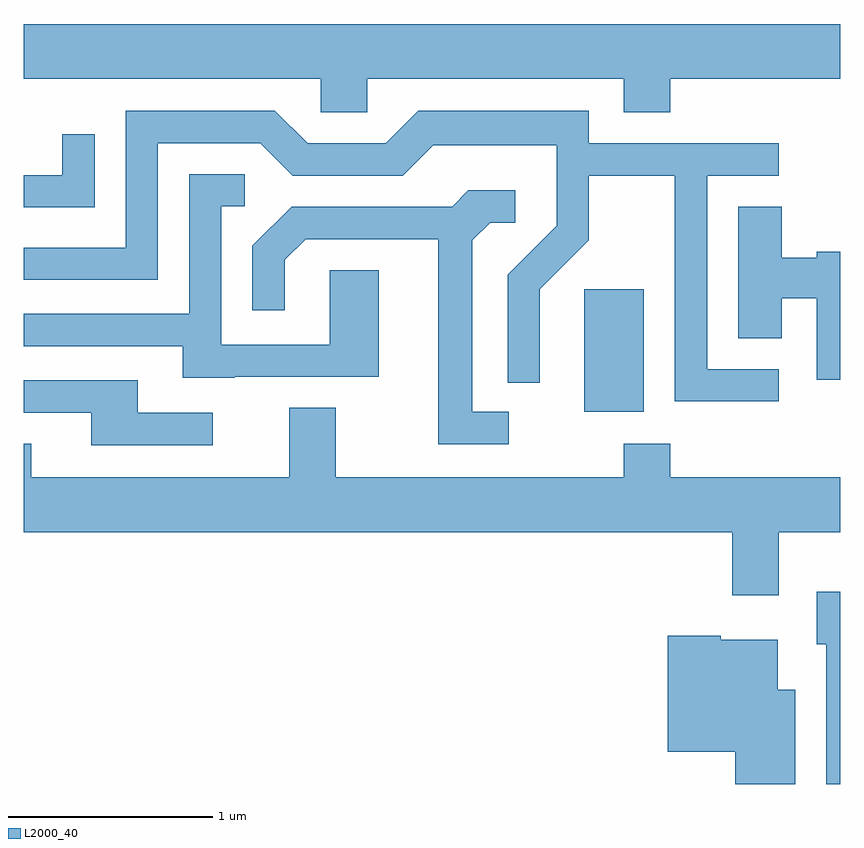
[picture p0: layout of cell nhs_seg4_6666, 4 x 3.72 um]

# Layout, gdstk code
import gdstk
lib = gdstk.Library(unit=1e-6, precision=1e-09)
def R(c, l, rs):  # rectangles x0, y0, x1, y1
    for r in rs: c.add(gdstk.rectangle(r[:2], r[2:], *l))
def P(c, l, *ps):  # polygons
    for p in ps: c.add(gdstk.Polygon(p, *l))
L2000_40 = (2000, 40)

nhs_seg4_6666 = lib.new_cell('nhs_seg4_6666')
R(nhs_seg4_6666, L2000_40, [(384.356,1259.806,384.649,1260.404)])
P(nhs_seg4_6666, L2000_40, [(383.294,1261.436),(384.551,1261.436),(384.551,1261.271),(384.779,1261.271),(384.779,1261.436),(385.611,1261.436),(385.611,1261.704),(381.611,1261.704),(381.611,1261.436),(383.066,1261.436),(383.066,1261.271),(383.294,1261.271)],
  [(385.308,1260.014),(384.959,1260.014),(384.959,1260.961),(385.308,1260.961),(385.308,1261.119),(384.379,1261.119),(384.379,1261.279),(383.544,1261.279),(383.384,1261.119),(383.002,1261.119),(382.842,1261.279),(382.111,1261.279),(382.111,1260.609),(381.611,1260.609),(381.611,1260.451),(382.269,1260.451),(382.269,1261.121),(382.769,1261.121),(382.929,1260.961),(383.467,1260.961),(383.617,1261.111),(384.221,1261.111),(384.221,1260.717),(383.981,1260.477),(383.981,1259.948),(384.139,1259.948),(384.139,1260.404),(384.379,1260.644),(384.379,1260.961),(384.801,1260.961),(384.801,1259.856),(385.308,1259.856)],
  [(381.959,1261.163),(381.801,1261.163),(381.801,1260.964),(381.611,1260.964),(381.611,1260.806),(381.959,1260.806)],
  [(382.645,1259.976),(383.349,1259.976),(383.349,1260.499),(383.111,1260.499),(383.111,1260.134),(382.579,1260.134),(382.579,1260.811),(382.693,1260.811),(382.693,1260.969),(382.421,1260.969),(382.421,1260.284),(381.611,1260.284),(381.611,1260.126),(382.391,1260.126),(382.391,1259.971),(382.645,1259.971)],
  [(383.988,1259.804),(383.809,1259.804),(383.809,1260.644),(383.897,1260.731),(384.018,1260.731),(384.018,1260.889),(383.789,1260.889),(383.709,1260.809),(382.924,1260.809),(382.731,1260.617),(382.731,1260.303),(382.889,1260.303),(382.889,1260.549),(382.992,1260.651),(383.641,1260.651),(383.641,1259.646),(383.988,1259.646)],
  [(385.611,1260.589),(385.496,1260.589),(385.496,1260.559),(385.324,1260.559),(385.324,1260.809),(385.111,1260.809),(385.111,1260.166),(385.324,1260.166),(385.324,1260.361),(385.496,1260.361),(385.496,1259.961),(385.611,1259.961)],
  [(382.538,1259.799),(382.169,1259.799),(382.169,1259.959),(381.611,1259.959),(381.611,1259.801),(381.941,1259.801),(381.941,1259.641),(382.538,1259.641)],
  [(385.309,1259.216),(385.611,1259.216),(385.611,1259.484),(384.779,1259.484),(384.779,1259.649),(384.551,1259.649),(384.551,1259.484),(383.139,1259.484),(383.139,1259.824),(382.911,1259.824),(382.911,1259.484),(381.649,1259.484),(381.649,1259.649),(381.611,1259.649),(381.611,1259.216),(385.081,1259.216),(385.081,1258.906),(385.309,1258.906)],
  [(385.611,1258.924),(385.496,1258.924),(385.496,1258.666),(385.541,1258.666),(385.541,1257.982),(385.611,1257.982)],
  [(385.389,1258.444),(385.304,1258.444),(385.304,1258.689),(385.024,1258.689),(385.024,1258.709),(384.766,1258.709),(384.766,1258.141),(385.096,1258.141),(385.096,1257.982),(385.389,1257.982)])

lib.write_gds('nhs_seg4_6666.gds')
